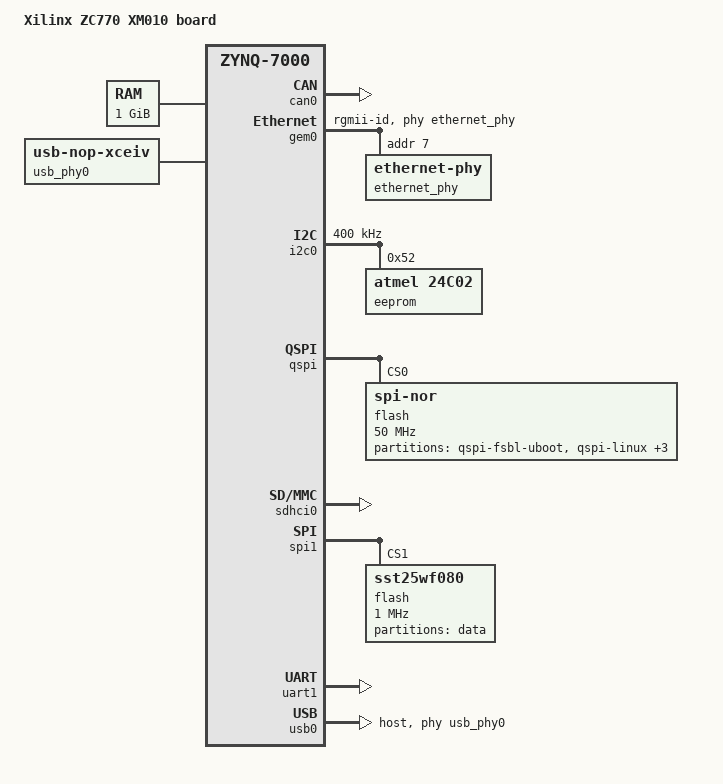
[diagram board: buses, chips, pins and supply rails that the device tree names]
// SPDX-License-Identifier: GPL-2.0+
/*
 * Xilinx ZC770 XM010 board DTS
 *
 * Copyright (C) 2013-2018 Xilinx, Inc.
 */
/dts-v1/;
#include "zynq-7000.dtsi"

/ {
	model = "Xilinx ZC770 XM010 board";
	compatible = "xlnx,zynq-zc770-xm010", "xlnx,zynq-7000";

	aliases {
		ethernet0 = &gem0;
		i2c0 = &i2c0;
		serial0 = &uart1;
		spi0 = &qspi;
		spi1 = &spi1;
	};

	chosen {
		bootargs = "";
		stdout-path = "serial0:115200n8";
	};

	memory@0 {
		device_type = "memory";
		reg = <0x0 0x40000000>;
	};

	usb_phy0: phy0 {
		compatible = "usb-nop-xceiv";
		#phy-cells = <0>;
	};
};

&can0 {
	status = "okay";
};

&gem0 {
	status = "okay";
	phy-mode = "rgmii-id";
	phy-handle = <&ethernet_phy>;

	ethernet_phy: ethernet-phy@7 {
		reg = <7>;
	};
};

&i2c0 {
	status = "okay";
	clock-frequency = <400000>;

	eeprom: eeprom@52 {
		compatible = "atmel,24c02";
		reg = <0x52>;
	};
};

&qspi {
	status = "okay";
	num-cs = <1>;
	flash@0 {
		compatible = "jedec,spi-nor";
		reg = <0x0>;
		spi-tx-bus-width = <1>;
		spi-rx-bus-width = <4>;
		spi-max-frequency = <50000000>;
		partitions {
			compatible = "fixed-partitions";
			#address-cells = <1>;
			#size-cells = <1>;
			partition@0 {
				label = "qspi-fsbl-uboot";
				reg = <0x0 0x100000>;
			};
			partition@100000 {
				label = "qspi-linux";
				reg = <0x100000 0x500000>;
			};
			partition@600000 {
				label = "qspi-device-tree";
				reg = <0x600000 0x20000>;
			};
			partition@620000 {
				label = "qspi-rootfs";
				reg = <0x620000 0x5e0000>;
			};
			partition@c00000 {
				label = "qspi-bitstream";
				reg = <0xc00000 0x400000>;
			};
		};
	};
};

&sdhci0 {
	status = "okay";
};

&spi1 {
	status = "okay";
	num-cs = <4>;
	is-decoded-cs = <0>;
	flash@1 {
		compatible = "sst25wf080", "jedec,spi-nor";
		reg = <1>;
		spi-max-frequency = <1000000>;
		partitions {
			compatible = "fixed-partitions";
			#address-cells = <1>;
			#size-cells = <1>;
			partition@0 {
				label = "data";
				reg = <0x0 0x100000>;
			};
		};
	};
};

&uart1 {
	bootph-all;
	status = "okay";
};

&usb0 {
	status = "okay";
	dr_mode = "host";
	usb-phy = <&usb_phy0>;
};
